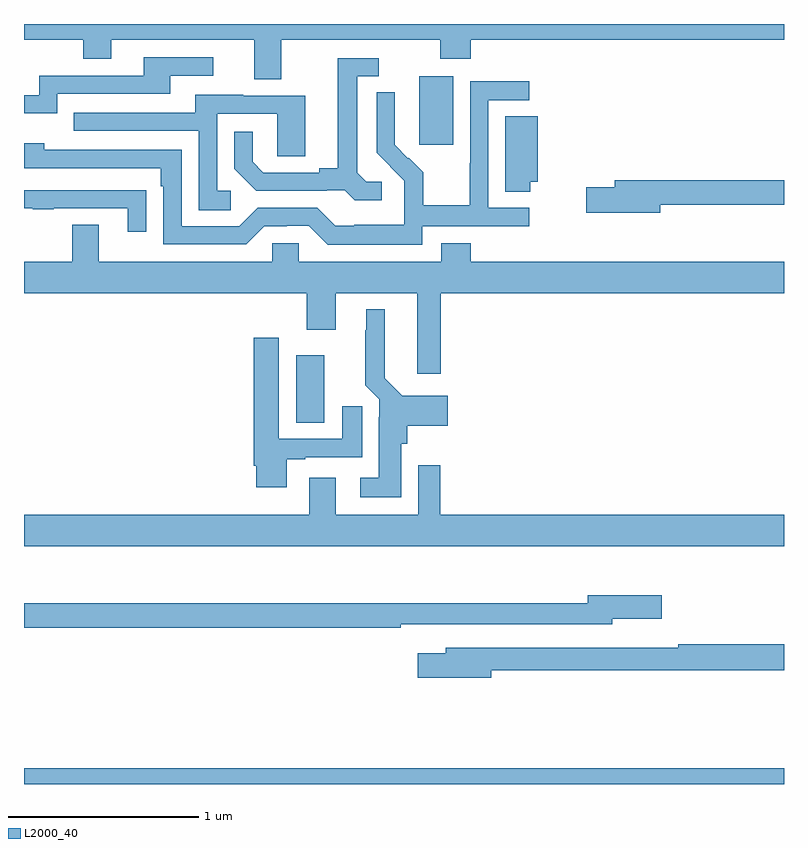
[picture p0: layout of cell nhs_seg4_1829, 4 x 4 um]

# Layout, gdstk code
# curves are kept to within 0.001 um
import gdstk
lib = gdstk.Library(unit=1e-6, precision=1e-09)
def R(c, l, rs):  # rectangles x0, y0, x1, y1
    for r in rs: c.add(gdstk.rectangle(r[:2], r[2:], *l))
def P(c, l, *ps):  # polygons
    for p in ps: c.add(gdstk.Polygon(p, *l))
L2000_40 = (2000, 40)

nhs_seg4_1829 = lib.new_cell('nhs_seg4_1829')
R(nhs_seg4_1829, L2000_40, [(205,796.9,209,796.984), (206.432,798.802,206.581,799.156), (207.08,800.265,207.259,800.626)])
P(nhs_seg4_1829, L2000_40, [(206.353,800.816),(207.19,800.816),(207.19,800.717),(207.35,800.717),(207.35,800.816),(209,800.816),(209,800.9),(205,800.9),(205,800.816),(205.312,800.816),(205.312,800.717),(205.459,800.717),(205.459,800.816),(206.213,800.816),(206.213,800.608),(206.353,800.608)],
  [(205.176,800.532),(205.771,800.532),(205.771,800.628),(205.996,800.628),(205.996,800.724),(205.631,800.724),(205.631,800.628),(205.08,800.628),(205.08,800.526),(205,800.526),(205,800.429),(205.176,800.429)],
  [(206.884,800.07),(206.802,800.07),(206.755,800.117),(206.755,800.625),(206.866,800.625),(206.866,800.721),(206.651,800.721),(206.651,800.141),(206.555,800.141),(206.555,800.118),(206.26,800.118),(206.203,800.175),(206.203,800.332),(206.106,800.332),(206.106,800.138),(206.222,800.022),(206.594,800.022),(206.594,800.025),(206.688,800.025),(206.74,799.973),(206.884,799.973)],
  [(207.096,799.836),(207.658,799.836),(207.658,799.932),(207.444,799.932),(207.444,800.499),(207.658,800.499),(207.658,800.598),(207.348,800.598),(207.348,800.168),(207.346,800.168),(207.346,799.945),(207.101,799.945),(207.101,800.119),(207.024,800.196),(207.021,800.193),(206.951,800.264),(206.952,800.54),(206.856,800.54),(206.856,800.222),(207.002,800.074),(207.002,799.977),(207,799.977),(207,799.843),(206.737,799.843),(206.737,799.839),(206.637,799.839),(206.544,799.932),(206.229,799.932),(206.133,799.836),(205.83,799.836),(205.83,800.238),(205.106,800.238),(205.106,800.272),(205,800.272),(205,800.142),(205.721,800.142),(205.721,800.045),(205.734,800.045),(205.734,799.74),(206.169,799.74),(206.265,799.836),(206.384,799.836),(206.384,799.839),(206.499,799.839),(206.599,799.739),(207.096,799.739)],
  [(206.089,800.022),(206.016,800.022),(206.016,800.427),(206.334,800.427),(206.334,800.203),(206.479,800.203),(206.479,800.523),(206.155,800.523),(206.155,800.527),(205.901,800.527),(205.901,800.433),(205.261,800.433),(205.261,800.337),(205.92,800.337),(205.92,799.921),(206.089,799.921)],
  [(207.664,800.07),(207.704,800.07),(207.704,800.414),(207.533,800.414),(207.533,800.017),(207.664,800.017)],
  [(208.348,799.95),(209,799.95),(209,800.078),(208.109,800.078),(208.109,800.042),(207.96,800.042),(207.96,799.907),(208.348,799.907)],
  [(205.643,800.024),(205.541,800.024),(205.541,800.025),(205,800.025),(205,799.929),(205.045,799.929),(205.045,799.924),(205.157,799.924),(205.157,799.929),(205.547,799.929),(205.547,799.806),(205.643,799.806)],
  [(207.194,799.484),(209,799.484),(209,799.648),(207.35,799.648),(207.35,799.747),(207.197,799.747),(207.197,799.648),(206.445,799.648),(206.445,799.746),(206.307,799.746),(206.307,799.648),(205.393,799.648),(205.393,799.843),(205.253,799.843),(205.253,799.648),(205,799.648),(205,799.484),(206.489,799.484),(206.489,799.29),(206.641,799.29),(206.641,799.484),(207.071,799.484),(207.071,799.059),(207.194,799.059)],
  [(206.986,798.69),(207.017,798.69),(207.017,798.785),(207.229,798.785),(207.229,798.943),(206.991,798.943),(206.899,799.036),(206.899,799.399),(206.801,799.399),(206.801,799.289),(206.797,799.289),(206.797,798.998),(206.871,798.924),(206.871,798.83),(206.867,798.83),(206.867,798.511),(206.769,798.511),(206.769,798.41),(206.986,798.41)],
  [(206.383,798.609),(206.479,798.609),(206.479,798.621),(206.779,798.621),(206.779,798.889),(206.675,798.889),(206.675,798.717),(206.341,798.717),(206.341,799.249),(206.21,799.249),(206.21,798.574),(206.222,798.574),(206.222,798.462),(206.383,798.462)],
  [(209,798.316),(207.191,798.316),(207.191,798.577),(207.075,798.577),(207.075,798.316),(206.641,798.316),(206.641,798.511),(206.501,798.511),(206.501,798.316),(205,798.316),(205,798.152),(209,798.152)],
  [(206.984,797.742),(208.096,797.742),(208.096,797.771),(208.357,797.771),(208.357,797.893),(207.968,797.893),(207.968,797.851),(205,797.851),(205,797.722),(206.984,797.722)],
  [(207.46,797.5),(209,797.5),(209,797.636),(208.444,797.636),(208.444,797.617),(208.192,797.617),(208.192,797.616),(207.221,797.616),(207.221,797.587),(207.072,797.587),(207.072,797.458),(207.46,797.458)])

lib.write_gds('nhs_seg4_1829.gds')
